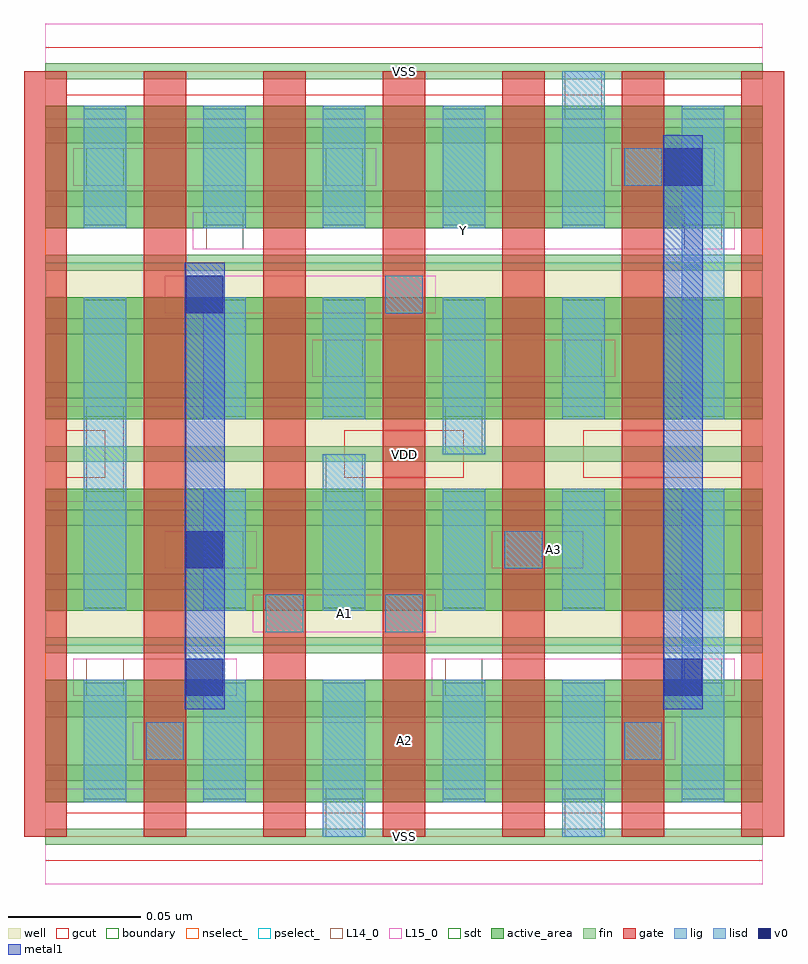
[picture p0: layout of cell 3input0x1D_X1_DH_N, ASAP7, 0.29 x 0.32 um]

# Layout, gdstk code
import gdstk
lib = gdstk.Library(unit=1e-6, precision=2.5e-10)
def R(c, l, rs):  # rectangles x0, y0, x1, y1
    for r in rs: c.add(gdstk.rectangle(r[:2], r[2:], *l))
def A(c, l, x, y, w, h, nx, ny, dx, dy):  # array of equal rectangles
    R(c, l, [(x+i*dx, y+j*dy, x+i*dx+w, y+j*dy+h) for i in range(nx) for j in range(ny)])
def P(c, l, *ps):  # polygons
    for p in ps: c.add(gdstk.Polygon(p, *l))
well = (1, 0)
fin = (2, 0)
gate = (7, 0)
gcut = (10, 0)
active_area = (11, 0)
nselect_ = (12, 0)
pselect_ = (13, 0)
L14_0 = (14, 0)
L15_0 = (15, 0)
lig = (16, 0)
lisd = (17, 0)
v0 = (18, 0)
metal1 = (19, 0)
sdt = (88, 0)
boundary = (100, 0)

c_3input0x1d_x1_dh_n = lib.new_cell('3input0x1D_X1_DH_N')
R(c_3input0x1d_x1_dh_n, well, [(0,0.072,0.27,0.144), (0,0.144,0.27,0.216)])
A(c_3input0x1d_x1_dh_n, fin, 0, -0.003, 0.27, 0.006, 1, 13, 0, 0.024)
A(c_3input0x1d_x1_dh_n, gate, -0.008, 0, 0.016, 0.288, 7, 1, 0.045, 0)
R(c_3input0x1d_x1_dh_n, gcut, [(0.1125,0.135,0.1575,0.153)])
P(c_3input0x1d_x1_dh_n, gcut, [(0,-0.009),(0,0),(-0.008,0),(-0.008,0.279),(0.008,0.279),(0.008,0.153),(0.0225,0.153),(0.0225,0.135),(0.008,0.135),(0.008,0.009),(0.262,0.009),(0.262,0.135),(0.2025,0.135),(0.2025,0.153),(0.262,0.153),(0.262,0.279),(-0.008,0.279),(-0.008,0.288),(0,0.288),(0,0.297),(0.27,0.297),(0.27,0.288),(0.278,0.288),(0.278,0),(0.27,0),(0.27,-0.009)])
A(c_3input0x1d_x1_dh_n, active_area, 0, 0.013, 0.27, 0.046, 1, 4, 0, 0.072)
R(c_3input0x1d_x1_dh_n, nselect_, [(0,0,0.27,0.072), (0,0.216,0.27,0.288)])
R(c_3input0x1d_x1_dh_n, pselect_, [(0,0.072,0.27,0.144), (0,0.144,0.27,0.216)])
R(c_3input0x1d_x1_dh_n, L14_0, [(0.1055,0,0.1195,0.018), (0.1955,0,0.2095,0.018), (0.038,0.029,0.052,0.043), (0.218,0.029,0.232,0.043), (0.0155,0.053,0.0295,0.067), (0.1505,0.053,0.1645,0.067), (0.2405,0.053,0.2545,0.067), (0.083,0.077,0.097,0.091), (0.128,0.077,0.142,0.091), (0.0605,0.101,0.0745,0.115), (0.173,0.101,0.187,0.115), (0.0155,0.126,0.0295,0.144), (0.1055,0.126,0.1195,0.144), (0.0155,0.144,0.0295,0.162), (0.1505,0.144,0.1645,0.162), (0.1055,0.173,0.1195,0.187), (0.1955,0.173,0.2095,0.187), (0.128,0.197,0.142,0.211), (0.0605,0.221,0.0745,0.235), (0.2405,0.221,0.2545,0.235), (0.0155,0.245,0.0295,0.259), (0.1055,0.245,0.1195,0.259), (0.218,0.245,0.232,0.259), (0.1955,0.27,0.2095,0.288)])
A(c_3input0x1d_x1_dh_n, L15_0, 0, -0.018, 0.27, 0.036, 1, 3, 0, 0.144)
R(c_3input0x1d_x1_dh_n, L15_0, [(0.033,0.029,0.237,0.043), (0.0105,0.053,0.072,0.067), (0.1455,0.053,0.2595,0.067), (0.078,0.077,0.147,0.091), (0.045,0.101,0.0795,0.115), (0.168,0.101,0.2025,0.115), (0.1005,0.173,0.2145,0.187), (0.045,0.197,0.147,0.211), (0.0555,0.221,0.2595,0.235), (0.0105,0.245,0.1245,0.259), (0.213,0.245,0.252,0.259)])
R(c_3input0x1d_x1_dh_n, lig, [(0.038,0.029,0.052,0.043), (0.218,0.029,0.232,0.043), (0.083,0.077,0.097,0.091), (0.128,0.077,0.142,0.091), (0.173,0.101,0.187,0.115), (0.128,0.197,0.142,0.211), (0.218,0.245,0.232,0.259)])
A(c_3input0x1d_x1_dh_n, lisd, 0.0595, 0.013, 0.016, 0.046, 1, 3, 0, 0.072)
A(c_3input0x1d_x1_dh_n, lisd, 0.0145, 0.229, 0.016, 0.046, 4, 1, 0.045, 0)
R(c_3input0x1d_x1_dh_n, lisd, [(0.1045,0,0.1205,0.059), (0.1945,0,0.2105,0.059), (0.0145,0.013,0.0305,0.059), (0.1495,0.013,0.1655,0.059), (0.2395,0.013,0.2555,0.131), (0.0145,0.085,0.0305,0.203), (0.1045,0.085,0.1205,0.144), (0.1495,0.085,0.1655,0.131), (0.1945,0.085,0.2105,0.131), (0.1495,0.144,0.1655,0.203), (0.1045,0.157,0.1205,0.203), (0.1945,0.157,0.2105,0.203), (0.2395,0.157,0.2555,0.275), (0.1945,0.229,0.2105,0.288)])
R(c_3input0x1d_x1_dh_n, v0, [(0.053,0.053,0.067,0.067), (0.233,0.053,0.247,0.067), (0.053,0.101,0.067,0.115), (0.053,0.197,0.067,0.211), (0.233,0.245,0.247,0.259)])
R(c_3input0x1d_x1_dh_n, metal1, [(0.0525,0.048,0.0675,0.216), (0.2325,0.048,0.2475,0.264)])
A(c_3input0x1d_x1_dh_n, sdt, 0.0145, 0.014, 0.016, 0.044, 6, 4, 0.045, 0.072)
R(c_3input0x1d_x1_dh_n, boundary, [(0,0,0.27,0.288)])
c_3input0x1d_x1_dh_n.add(gdstk.Label('Y', (0.1575,0.228), layer=15, texttype=251))
c_3input0x1d_x1_dh_n.add(gdstk.Label('VSS', (0.135,0), layer=15, texttype=251))
c_3input0x1d_x1_dh_n.add(gdstk.Label('VDD', (0.135,0.144), layer=15, texttype=251))
c_3input0x1d_x1_dh_n.add(gdstk.Label('VDD', (0.135,0.144), layer=15, texttype=251))
c_3input0x1d_x1_dh_n.add(gdstk.Label('VSS', (0.135,0.288), layer=15, texttype=251))
c_3input0x1d_x1_dh_n.add(gdstk.Label('A2', (0.135,0.036), layer=15, texttype=251))
c_3input0x1d_x1_dh_n.add(gdstk.Label('VSS', (0.135,0), layer=15, texttype=251))
c_3input0x1d_x1_dh_n.add(gdstk.Label('VDD', (0.135,0.144), layer=15, texttype=251))
c_3input0x1d_x1_dh_n.add(gdstk.Label('VDD', (0.135,0.144), layer=15, texttype=251))
c_3input0x1d_x1_dh_n.add(gdstk.Label('VSS', (0.135,0.288), layer=15, texttype=251))
c_3input0x1d_x1_dh_n.add(gdstk.Label('A1', (0.1125,0.084), layer=15, texttype=251))
c_3input0x1d_x1_dh_n.add(gdstk.Label('VSS', (0.135,0), layer=15, texttype=251))
c_3input0x1d_x1_dh_n.add(gdstk.Label('VDD', (0.135,0.144), layer=15, texttype=251))
c_3input0x1d_x1_dh_n.add(gdstk.Label('VDD', (0.135,0.144), layer=15, texttype=251))
c_3input0x1d_x1_dh_n.add(gdstk.Label('VSS', (0.135,0.288), layer=15, texttype=251))
c_3input0x1d_x1_dh_n.add(gdstk.Label('A3', (0.1913,0.108), layer=15, texttype=251))
c_3input0x1d_x1_dh_n.add(gdstk.Label('VSS', (0.135,0), layer=15, texttype=251))
c_3input0x1d_x1_dh_n.add(gdstk.Label('VDD', (0.135,0.144), layer=15, texttype=251))
c_3input0x1d_x1_dh_n.add(gdstk.Label('VDD', (0.135,0.144), layer=15, texttype=251))
c_3input0x1d_x1_dh_n.add(gdstk.Label('VSS', (0.135,0.288), layer=15, texttype=251))
c_3input0x1d_x1_dh_n.add(gdstk.Label('VSS', (0.135,0), layer=3, texttype=251))
c_3input0x1d_x1_dh_n.add(gdstk.Label('VSS', (0.135,0.288), layer=3, texttype=251))
c_3input0x1d_x1_dh_n.add(gdstk.Label('VSS', (0.135,0), layer=3, texttype=251))
c_3input0x1d_x1_dh_n.add(gdstk.Label('VSS', (0.135,0.288), layer=3, texttype=251))
c_3input0x1d_x1_dh_n.add(gdstk.Label('VSS', (0.135,0), layer=3, texttype=251))
c_3input0x1d_x1_dh_n.add(gdstk.Label('VSS', (0.135,0.288), layer=3, texttype=251))
c_3input0x1d_x1_dh_n.add(gdstk.Label('VSS', (0.135,0), layer=3, texttype=251))
c_3input0x1d_x1_dh_n.add(gdstk.Label('VSS', (0.135,0.288), layer=3, texttype=251))
c_3input0x1d_x1_dh_n.add(gdstk.Label('VDD', (0.135,0.144), layer=1, texttype=251))
c_3input0x1d_x1_dh_n.add(gdstk.Label('VDD', (0.135,0.144), layer=1, texttype=251))
c_3input0x1d_x1_dh_n.add(gdstk.Label('VDD', (0.135,0.144), layer=1, texttype=251))
c_3input0x1d_x1_dh_n.add(gdstk.Label('VDD', (0.135,0.144), layer=1, texttype=251))
c_3input0x1d_x1_dh_n.add(gdstk.Label('VDD', (0.135,0.144), layer=1, texttype=251))
c_3input0x1d_x1_dh_n.add(gdstk.Label('VDD', (0.135,0.144), layer=1, texttype=251))
c_3input0x1d_x1_dh_n.add(gdstk.Label('VDD', (0.135,0.144), layer=1, texttype=251))
c_3input0x1d_x1_dh_n.add(gdstk.Label('VDD', (0.135,0.144), layer=1, texttype=251))

lib.write_gds('3input0x1D_X1_DH_N.gds')
